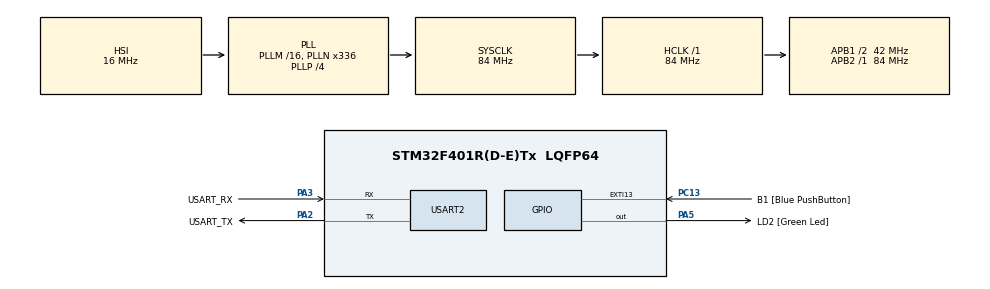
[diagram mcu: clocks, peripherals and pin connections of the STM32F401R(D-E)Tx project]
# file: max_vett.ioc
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Mcu.Family=STM32F4
Mcu.Name=STM32F401R(D-E)Tx
Mcu.Package=LQFP64
NVIC.PriorityGroup=NVIC_PRIORITYGROUP_0
PA13.GPIO_Label=TMS
PA13.Mode=Serial_Wire
PA13.Signal=SYS_JTMS-SWDIO
PA14.GPIO_Label=TCK
PA14.Mode=Serial_Wire
PA14.Signal=SYS_JTCK-SWCLK
PA2.GPIO_Label=USART_TX
PA2.GPIO_Mode=GPIO_MODE_AF_PP
PA2.GPIO_PuPd=GPIO_NOPULL
PA2.GPIO_Speed=GPIO_SPEED_FREQ_LOW
PA2.Mode=Asynchronous
PA2.Signal=USART2_TX
PA3.GPIO_Label=USART_RX
PA3.GPIO_Mode=GPIO_MODE_AF_PP
PA3.GPIO_PuPd=GPIO_NOPULL
PA3.GPIO_Speed=GPIO_SPEED_FREQ_LOW
PA3.Mode=Asynchronous
PA3.Signal=USART2_RX
PA5.GPIO_Label=LD2 [Green Led]
PA5.GPIO_Mode=GPIO_MODE_OUTPUT_PP
PA5.GPIO_PuPd=GPIO_NOPULL
PA5.GPIO_Speed=GPIO_SPEED_FREQ_LOW
PA5.Signal=GPIO_Output
PB3.GPIO_Label=SWO
PB3.Signal=SYS_JTDO-SWO
PC13-ANTI_TAMP.GPIO_Label=B1 [Blue PushButton]
PC13-ANTI_TAMP.GPIO_ModeDefaultEXTI=GPIO_MODE_IT_FALLING
PC13-ANTI_TAMP.GPIO_PuPd=GPIO_NOPULL
PC13-ANTI_TAMP.Signal=GPXTI13
PC14-OSC32_IN.Mode=LSE-External-Oscillator
PC14-OSC32_IN.Signal=RCC_OSC32_IN
PC15-OSC32_OUT.Mode=LSE-External-Oscillator
PC15-OSC32_OUT.Signal=RCC_OSC32_OUT
PH0\ -\ OSC_IN.Mode=HSE-External-Clock-Source
PH0\ -\ OSC_IN.Signal=RCC_OSC_IN
PH1\ -\ OSC_OUT.Mode=HSE-External-Clock-Source
PH1\ -\ OSC_OUT.Signal=RCC_OSC_OUT
ProjectManager.HeapSize=0x200
ProjectManager.StackSize=0x400
ProjectManager.TargetToolchain=STM32CubeIDE
RCC.48MHZClocksFreq_Value=48000000
RCC.AHBFreq_Value=84000000
RCC.APB1CLKDivider=RCC_HCLK_DIV2
RCC.APB1Freq_Value=42000000
RCC.APB1TimFreq_Value=84000000
RCC.APB2Freq_Value=84000000
RCC.APB2TimFreq_Value=84000000
RCC.CortexFreq_Value=84000000
RCC.HCLKFreq_Value=84000000
RCC.HSE_VALUE=8000000
RCC.HSI_VALUE=16000000
RCC.PLLN=336
RCC.PLLP=RCC_PLLP_DIV4
RCC.PLLQ=7
RCC.SYSCLKFreq_VALUE=84000000
RCC.SYSCLKSource=RCC_SYSCLKSOURCE_PLLCLK
RCC.VCOOutputFreq_Value=336000000
USART2.VirtualMode=VM_ASYNC
board=NUCLEO-F401RE

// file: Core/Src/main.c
/* USER CODE BEGIN Header */
/**
 ******************************************************************************
 * @file           : main.c
 * @brief          : Main program body
 ******************************************************************************
 * @attention
 *
 * Copyright (c) 2024 STMicroelectronics.
 * All rights reserved.
 *
 * This software is licensed under terms that can be found in the LICENSE file
 * in the root directory of this software component.
 * If no LICENSE file comes with this software, it is provided AS-IS.
 *
 ******************************************************************************
 */

//QUESTO CODICE CALCOLA IL MASSIMO DI UN VETTORE SE VIENE PREMUTO IL BOTTONE, ALTRIMENTI ACCENDE UN LED

/* USER CODE END Header */
#include "main.h"

/* USER CODE BEGIN Includes */
#include "string.h"
#include "stdio.h"
/* USER CODE END Includes */

/* USER CODE BEGIN PD */
#define n 7
/* USER CODE END PD */

UART_HandleTypeDef huart2;

/* USER CODE BEGIN PV */
int vector [] = {0, 7, 2, 9, 3, 5, 4};
int max;
char stringa [50];
/* USER CODE END PV */

void SystemClock_Config(void);
static void MX_GPIO_Init(void);
static void MX_USART2_UART_Init(void);

int main(void)
{

	/* MCU Configuration--------------------------------------------------------*/

	/* Reset of all peripherals, Initializes the Flash interface and the Systick. */
	HAL_Init();

	/* Configure the system clock */
	SystemClock_Config();

	/* Initialize all configured peripherals */
	MX_GPIO_Init();
	MX_USART2_UART_Init();

	/* Infinite loop */
	/* USER CODE BEGIN WHILE */
	while (1)
	{
		uint8_t b1; // lo definisco intero senza segno a 8bit perchè in C non esiste il booleano
		b1 = HAL_GPIO_ReadPin (GPIOC, GPIO_PIN_13);  // questo comando legge il valore del pin e ha bisogno del gruppo e del numero del pin
		HAL_GPIO_WritePin (GPIOA, GPIO_PIN_5, GPIO_PIN_SET); // accendi il LED
		if (b1 == 0) {  //quando il bottone è cliccato ha uscita pari a 0
			max = vector [0];
			for (int i = 1; i < n; i++) {
				if (vector[i] > max) {
					max = vector[i];
				}
			}
			sprintf (stringa, "Il massimo risulta pari a: %d\n\r", max);
			HAL_UART_Transmit (&huart2, (uint8_t *)stringa, strlen((const char *)stringa), 10);
			HAL_GPIO_WritePin (GPIOA, GPIO_PIN_5, GPIO_PIN_RESET); // spegni il LED
			HAL_Delay (500);
		} else {

		}

		/* USER CODE END WHILE */

	}
}

void SystemClock_Config(void)
{
	RCC_OscInitTypeDef RCC_OscInitStruct = {0};
	RCC_ClkInitTypeDef RCC_ClkInitStruct = {0};

	/** Configure the main internal regulator output voltage
	 */
	__HAL_RCC_PWR_CLK_ENABLE();
	__HAL_PWR_VOLTAGESCALING_CONFIG(PWR_REGULATOR_VOLTAGE_SCALE2);

	/** Initializes the RCC Oscillators according to the specified parameters
	 * in the RCC_OscInitTypeDef structure.
	 */
	RCC_OscInitStruct.OscillatorType = RCC_OSCILLATORTYPE_HSI;
	RCC_OscInitStruct.HSIState = RCC_HSI_ON;
	RCC_OscInitStruct.HSICalibrationValue = RCC_HSICALIBRATION_DEFAULT;
	RCC_OscInitStruct.PLL.PLLState = RCC_PLL_ON;
	RCC_OscInitStruct.PLL.PLLSource = RCC_PLLSOURCE_HSI;
	RCC_OscInitStruct.PLL.PLLM = 16;
	RCC_OscInitStruct.PLL.PLLN = 336;
	RCC_OscInitStruct.PLL.PLLP = RCC_PLLP_DIV4;
	RCC_OscInitStruct.PLL.PLLQ = 7;
	if (HAL_RCC_OscConfig(&RCC_OscInitStruct) != HAL_OK)
	{
		Error_Handler();
	}

	/** Initializes the CPU, AHB and APB buses clocks
	 */
	RCC_ClkInitStruct.ClockType = RCC_CLOCKTYPE_HCLK|RCC_CLOCKTYPE_SYSCLK
			|RCC_CLOCKTYPE_PCLK1|RCC_CLOCKTYPE_PCLK2;
	RCC_ClkInitStruct.SYSCLKSource = RCC_SYSCLKSOURCE_PLLCLK;
	RCC_ClkInitStruct.AHBCLKDivider = RCC_SYSCLK_DIV1;
	RCC_ClkInitStruct.APB1CLKDivider = RCC_HCLK_DIV2;
	RCC_ClkInitStruct.APB2CLKDivider = RCC_HCLK_DIV1;

	if (HAL_RCC_ClockConfig(&RCC_ClkInitStruct, FLASH_LATENCY_2) != HAL_OK)
	{
		Error_Handler();
	}
}

static void MX_USART2_UART_Init(void)
{

	huart2.Instance = USART2;
	huart2.Init.BaudRate = 115200;
	huart2.Init.WordLength = UART_WORDLENGTH_8B;
	huart2.Init.StopBits = UART_STOPBITS_1;
	huart2.Init.Parity = UART_PARITY_NONE;
	huart2.Init.Mode = UART_MODE_TX_RX;
	huart2.Init.HwFlowCtl = UART_HWCONTROL_NONE;
	huart2.Init.OverSampling = UART_OVERSAMPLING_16;
	if (HAL_UART_Init(&huart2) != HAL_OK)
	{
		Error_Handler();
	}

}

static void MX_GPIO_Init(void)
{
	GPIO_InitTypeDef GPIO_InitStruct = {0};

	/* GPIO Ports Clock Enable */
	__HAL_RCC_GPIOC_CLK_ENABLE();
	__HAL_RCC_GPIOH_CLK_ENABLE();
	__HAL_RCC_GPIOA_CLK_ENABLE();
	__HAL_RCC_GPIOB_CLK_ENABLE();

	/*Configure GPIO pin Output Level */
	HAL_GPIO_WritePin(LD2_GPIO_Port, LD2_Pin, GPIO_PIN_RESET);

	/*Configure GPIO pin : B1_Pin */
	GPIO_InitStruct.Pin = B1_Pin;
	GPIO_InitStruct.Mode = GPIO_MODE_IT_FALLING;
	GPIO_InitStruct.Pull = GPIO_NOPULL;
	HAL_GPIO_Init(B1_GPIO_Port, &GPIO_InitStruct);

	/*Configure GPIO pin : LD2_Pin */
	GPIO_InitStruct.Pin = LD2_Pin;
	GPIO_InitStruct.Mode = GPIO_MODE_OUTPUT_PP;
	GPIO_InitStruct.Pull = GPIO_NOPULL;
	GPIO_InitStruct.Speed = GPIO_SPEED_FREQ_LOW;
	HAL_GPIO_Init(LD2_GPIO_Port, &GPIO_InitStruct);

}

void Error_Handler(void)
{
	__disable_irq();
	while (1)
	{
	}
}
